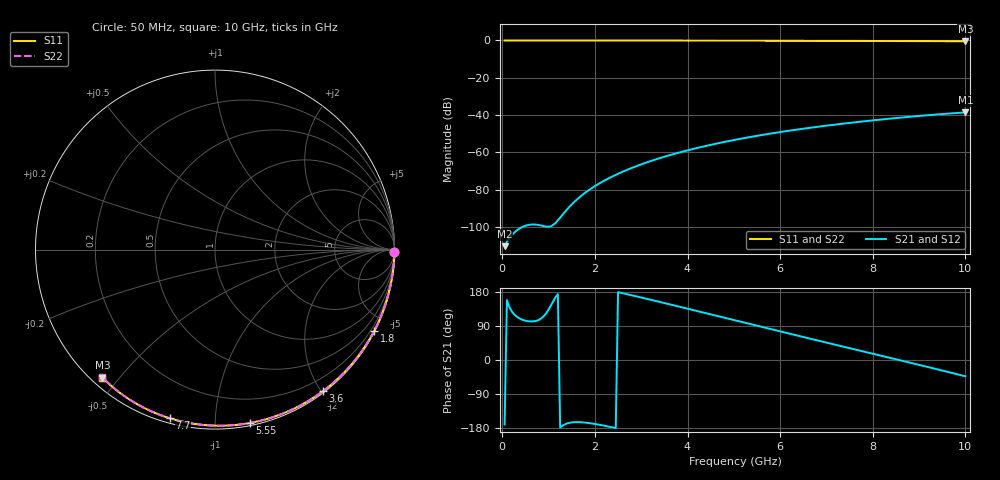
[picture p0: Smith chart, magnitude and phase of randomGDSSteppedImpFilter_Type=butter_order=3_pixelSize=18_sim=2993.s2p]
! freq	dB(S11)	phase(S11)	dB(S12)	phase(S12)
!  dB(S21)	phase(S21)	dB(S22)	phase(S22)
!S-par simulation data
#  GHz  S  DB  R 50
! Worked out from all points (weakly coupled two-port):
!   200 points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, 50 MHz to 10 GHz, reference 50 ohm
!   highest |S21| = -38.54 dB at 10 GHz (marker M1); lowest = -110.2 dB at 50 MHz (marker M2)
!   lowest |S11| = -0.4 dB at 10 GHz (marker M3), VSWR 38.92, Z = 1.55 - j22.6 ohm
!   |S11| at or under -10 dB: nowhere
!   |S22| runs from -0.5 to 0.0 dB; largest |S21 - S12| = 0
!   S11 on the Smith chart (normalised r, x): 50 MHz: open; 1.8 GHz: 0.04, -4.18; 3.6 GHz: 0.02, -2.02; 5.55 GHz: 0.02, -1.22; 7.7 GHz: 0.02, -0.77; 10 GHz: 0.03, -0.45
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0.05  -0.00 -0.8  -110.20 -170.2  -110.20 -170.2  -0.00 -0.8
0.9  -0.02 -13.6  -99.53 116.4  -99.53 116.4  -0.02 -13.6
1.75  -0.03 -26.2  -82.34 -164.7  -82.34 -164.7  -0.03 -26.2
1.8  -0.03 -26.9  -81.40 -165.3  -81.40 -165.3  -0.03 -27.0
1.85  -0.04 -27.6  -80.50 -166.1  -80.50 -166.1  -0.04 -27.7
1.9  -0.04 -28.4  -79.64 -166.9  -79.64 -166.9  -0.04 -28.4
2.05  -0.04 -30.6  -77.26 -169.9  -77.26 -169.9  -0.04 -30.6
2.25  -0.04 -33.5  -74.46 -174.5  -74.46 -174.5  -0.04 -33.5
2.45  -0.05 -36.4  -71.98 -179.7  -71.98 -179.7  -0.05 -36.4
2.65  -0.05 -39.2  -69.77 174.9  -69.77 174.9  -0.05 -39.3
3  -0.06 -44.2  -66.37 164.9  -66.37 164.9  -0.06 -44.3
3.4  -0.07 -49.9  -63.04 153.3  -63.04 153.3  -0.07 -49.9
3.6  -0.07 -52.6  -61.56 147.4  -61.56 147.4  -0.07 -52.7
4.3  -0.09 -62.2  -57.05 126.5  -57.05 126.5  -0.09 -62.3
5.05  -0.11 -72.2  -53.11 103.9  -53.11 103.9  -0.11 -72.3
5.55  -0.13 -78.6  -50.87 88.9  -50.87 88.9  -0.13 -78.7
6.1  -0.15 -85.6  -48.70 72.5  -48.70 72.5  -0.15 -85.7
6.7  -0.18 -93.0  -46.60 54.7  -46.60 54.7  -0.18 -93.1
7.7  -0.24 -105.0  -43.61 25.3  -43.61 25.3  -0.24 -105.1
8.35  -0.29 -112.6  -41.93 6.3  -41.93 6.3  -0.29 -112.7
9.15  -0.36 -121.7  -40.12 -17.3  -40.12 -17.3  -0.36 -121.9
10  -0.45 -131.3  -38.54 -43.0  -38.54 -43.0  -0.46 -131.5
